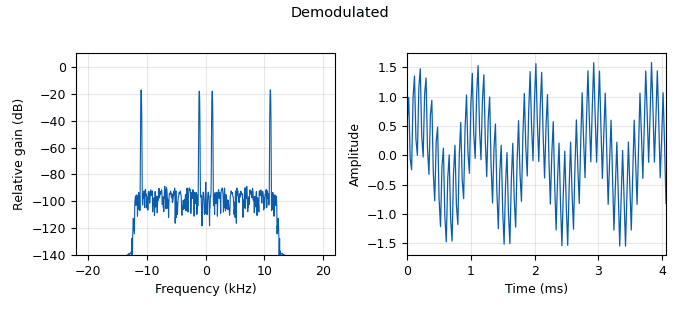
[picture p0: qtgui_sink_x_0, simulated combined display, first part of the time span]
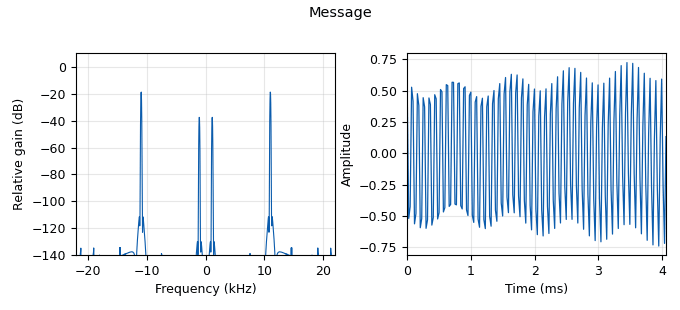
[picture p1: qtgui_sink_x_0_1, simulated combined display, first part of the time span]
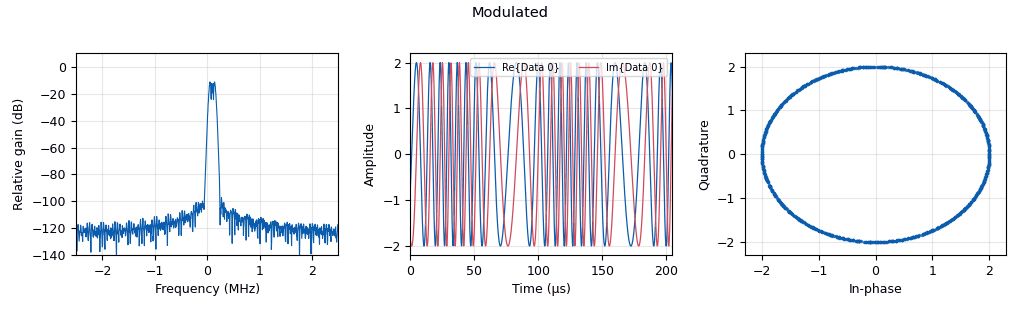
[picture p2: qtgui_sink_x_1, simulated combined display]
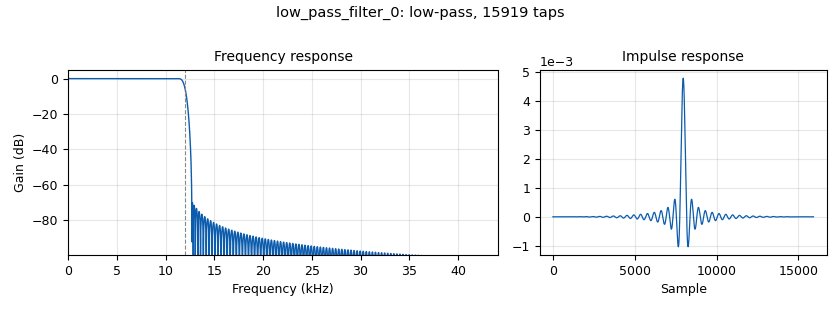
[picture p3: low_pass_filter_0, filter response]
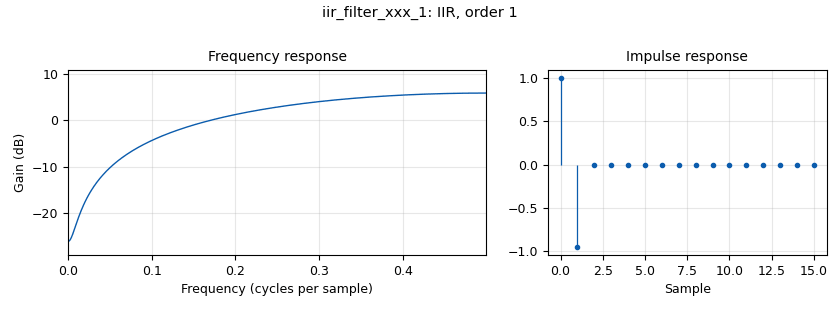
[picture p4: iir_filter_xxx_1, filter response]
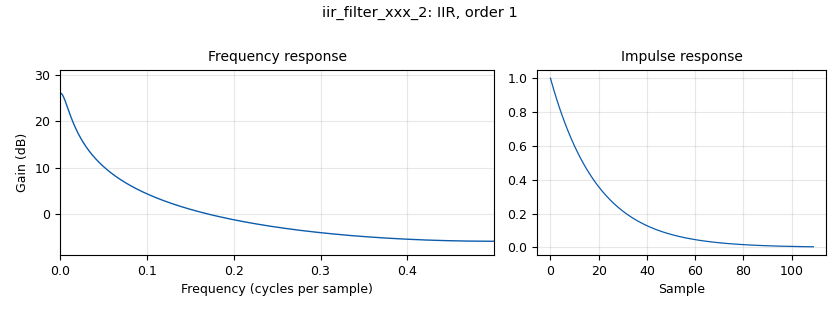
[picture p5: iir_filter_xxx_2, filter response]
options:
  parameters:
    author: Vinamra
    generate_options: qt_gui
    id: lab3_task1a
    output_language: python
    title: Lab 3 Task 1A
  states: {}

blocks:
- name: samp_msg
  id: variable
  parameters:
    value: '44100'
  states: {}
- name: samp_rate
  id: variable
  parameters:
    value: '5000000'
  states: {}
- name: analog_noise_source_x_0
  id: analog_noise_source_x
  parameters:
    amp: '0.2'
    noise_type: analog.GR_GAUSSIAN
    seed: '0'
    type: complex
  states: {}
- name: analog_phase_modulator_fc_0
  id: analog_phase_modulator_fc
  parameters:
    sensitivity: 2*3.14*75*1000
  states: {}
- name: analog_sig_source_x_0
  id: analog_sig_source_x
  parameters:
    amp: '0.5'
    freq: '1100'
    offset: '0'
    phase: '0'
    samp_rate: samp_msg
    type: float
    waveform: analog.GR_COS_WAVE
  states: {}
- name: analog_sig_source_x_1
  id: analog_sig_source_x
  parameters:
    amp: '0.5'
    freq: '11000'
    offset: '0'
    phase: '0'
    samp_rate: samp_msg
    type: float
    waveform: analog.GR_COS_WAVE
  states: {}
- name: analog_sig_source_x_1_0
  id: analog_sig_source_x
  parameters:
    amp: '2'
    freq: '100000'
    offset: '0'
    phase: '0'
    samp_rate: samp_rate
    type: complex
    waveform: analog.GR_COS_WAVE
  states: {}
- name: blocks_add_xx_0
  id: blocks_add_xx
  parameters:
    type: complex
  states: {}
- name: blocks_add_xx_1
  id: blocks_add_xx
  parameters:
    type: float
  states: {}
- name: blocks_complex_to_arg_0
  id: blocks_complex_to_arg
  parameters: {}
  states: {}
- name: blocks_conjugate_cc_0
  id: blocks_conjugate_cc
  parameters: {}
  states: {}
- name: blocks_delay_0
  id: blocks_delay
  parameters:
    delay: '1'
    type: complex
  states: {}
- name: blocks_file_sink_0
  id: blocks_file_sink
  parameters:
    file: C:\Users\vinam\Documents\Semester_5\EE 340\Lab3\task1.dat
    type: complex
  states: {}
- name: blocks_multiply_const_vxx_0
  id: blocks_multiply_const_vxx
  parameters:
    const: '100'
    type: float
  states: {}
- name: blocks_multiply_const_vxx_0_0
  id: blocks_multiply_const_vxx
  parameters:
    const: 1/6.28
    type: float
  states: {}
- name: blocks_multiply_xx_0
  id: blocks_multiply_xx
  parameters:
    type: complex
  states: {}
- name: blocks_multiply_xx_1
  id: blocks_multiply_xx
  parameters:
    type: complex
  states: {}
- name: blocks_throttle_0
  id: blocks_throttle
  parameters:
    samples_per_second: samp_rate
    type: complex
  states: {}
- name: blocks_throttle_1
  id: blocks_throttle
  parameters:
    samples_per_second: samp_msg
    type: float
  states: {}
- name: blocks_throttle_1_0
  id: blocks_throttle
  parameters:
    samples_per_second: samp_msg
    type: float
  states: {}
- name: dc_blocker_xx_0
  id: dc_blocker_xx
  parameters:
    length: '20000'
    long_form: 'True'
    type: ff
  states: {}
- name: iir_filter_xxx_0
  id: iir_filter_xxx
  parameters:
    fbtaps: '[1,1]'
    fftaps: '[0,1/samp_msg]'
    type: ffd
  states: {}
- name: iir_filter_xxx_1
  id: iir_filter_xxx
  parameters:
    fbtaps: '1'
    fftaps: '[1,-0.95]'
    oldstyle: 'False'
    type: ffd
  states: {}
- name: iir_filter_xxx_2
  id: iir_filter_xxx
  parameters:
    fbtaps: '[1,-0.95]'
    fftaps: '1'
    oldstyle: 'False'
    type: ffd
  states: {}
- name: low_pass_filter_0
  id: low_pass_filter
  parameters:
    beta: '6.76'
    cutoff_freq: '12000'
    decim: '1'
    gain: '1'
    samp_rate: samp_rate
    type: fir_filter_fff
    width: '1000'
    win: firdes.WIN_KAISER
  states: {}
- name: qtgui_sink_x_0
  id: qtgui_sink_x
  parameters:
    bw: samp_msg
    fc: '0'
    fftsize: '1024'
    gui_hint: tab@2
    name: Demodulated
    type: float
    wintype: firdes.WIN_BLACKMAN_hARRIS
  states: {}
- name: qtgui_sink_x_0_1
  id: qtgui_sink_x
  parameters:
    bw: samp_msg
    fc: '0'
    fftsize: '1024'
    gui_hint: tab@0
    name: Message
    type: float
    wintype: firdes.WIN_BLACKMAN_hARRIS
  states: {}
- name: qtgui_sink_x_1
  id: qtgui_sink_x
  parameters:
    bw: samp_rate
    fc: '0'
    fftsize: '1024'
    gui_hint: tab@1
    name: Modulated
    type: complex
    wintype: firdes.WIN_BLACKMAN_hARRIS
  states: {}
- name: rational_resampler_xxx_0
  id: rational_resampler_xxx
  parameters:
    decim: samp_msg
    interp: samp_rate
    taps: ''
    type: fff
  states: {}
- name: rational_resampler_xxx_0_0
  id: rational_resampler_xxx
  parameters:
    decim: samp_rate
    interp: samp_msg
    taps: ''
    type: fff
  states: {}
- name: tab
  id: qtgui_tab_widget
  parameters:
    label0: Message
    label1: Modulated
    label2: Demodulated
    num_tabs: '3'
  states: {}

connections:
- [analog_noise_source_x_0, '0', blocks_add_xx_0, '1']
- [analog_phase_modulator_fc_0, '0', blocks_multiply_xx_0, '0']
- [analog_sig_source_x_0, '0', blocks_add_xx_1, '0']
- [analog_sig_source_x_1, '0', blocks_add_xx_1, '1']
- [analog_sig_source_x_1_0, '0', blocks_multiply_xx_0, '1']
- [blocks_add_xx_0, '0', blocks_delay_0, '0']
- [blocks_add_xx_0, '0', blocks_multiply_xx_1, '1']
- [blocks_add_xx_1, '0', iir_filter_xxx_1, '0']
- [blocks_complex_to_arg_0, '0', blocks_multiply_const_vxx_0_0, '0']
- [blocks_conjugate_cc_0, '0', blocks_multiply_xx_1, '0']
- [blocks_delay_0, '0', blocks_conjugate_cc_0, '0']
- [blocks_multiply_const_vxx_0, '0', blocks_throttle_1_0, '0']
- [blocks_multiply_const_vxx_0_0, '0', low_pass_filter_0, '0']
- [blocks_multiply_xx_0, '0', blocks_add_xx_0, '0']
- [blocks_multiply_xx_0, '0', blocks_throttle_0, '0']
- [blocks_multiply_xx_1, '0', blocks_complex_to_arg_0, '0']
- [blocks_throttle_0, '0', blocks_file_sink_0, '0']
- [blocks_throttle_0, '0', qtgui_sink_x_1, '0']
- [blocks_throttle_1, '0', qtgui_sink_x_0_1, '0']
- [blocks_throttle_1_0, '0', qtgui_sink_x_0, '0']
- [dc_blocker_xx_0, '0', rational_resampler_xxx_0_0, '0']
- [iir_filter_xxx_0, '0', rational_resampler_xxx_0, '0']
- [iir_filter_xxx_1, '0', blocks_throttle_1, '0']
- [iir_filter_xxx_1, '0', iir_filter_xxx_0, '0']
- [iir_filter_xxx_2, '0', blocks_multiply_const_vxx_0, '0']
- [low_pass_filter_0, '0', dc_blocker_xx_0, '0']
- [rational_resampler_xxx_0, '0', analog_phase_modulator_fc_0, '0']
- [rational_resampler_xxx_0_0, '0', iir_filter_xxx_2, '0']

metadata:
  file_format: 1
